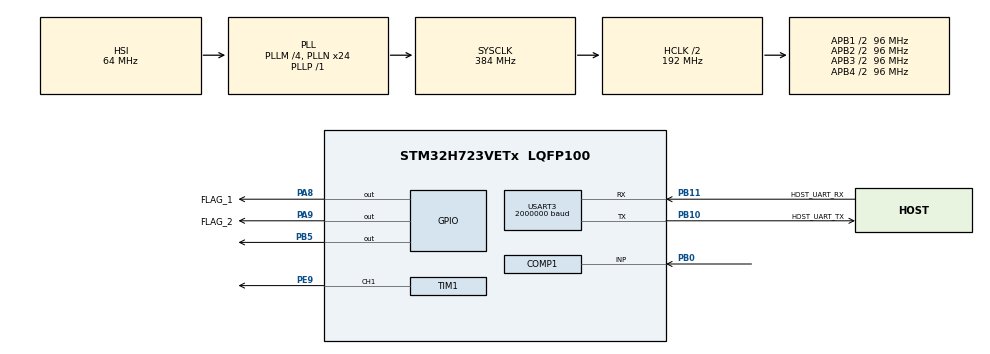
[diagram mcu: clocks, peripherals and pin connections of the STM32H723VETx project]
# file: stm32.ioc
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COMP1.Hysteresis=COMP_HYSTERESIS_LOW
CORTEX_M7.default_mode_Activation=1
DAC1.DAC_Channel-DAC_OUT1_Int=DAC_CHANNEL_1
Dma.Request0=TIM2_CH4
Dma.TIM2_CH4.0.Direction=DMA_PERIPH_TO_MEMORY
Dma.TIM2_CH4.0.EventEnable=DISABLE
Dma.TIM2_CH4.0.FIFOMode=DMA_FIFOMODE_DISABLE
Dma.TIM2_CH4.0.Instance=DMA1_Stream1
Dma.TIM2_CH4.0.MemDataAlignment=DMA_MDATAALIGN_WORD
Dma.TIM2_CH4.0.MemInc=DMA_MINC_ENABLE
Dma.TIM2_CH4.0.Mode=DMA_CIRCULAR
Dma.TIM2_CH4.0.PeriphDataAlignment=DMA_PDATAALIGN_WORD
Dma.TIM2_CH4.0.PeriphInc=DMA_PINC_DISABLE
Dma.TIM2_CH4.0.Polarity=HAL_DMAMUX_REQ_GEN_RISING
Dma.TIM2_CH4.0.Priority=DMA_PRIORITY_VERY_HIGH
Dma.TIM2_CH4.0.RequestNumber=1
Dma.TIM2_CH4.0.SignalID=NONE
Dma.TIM2_CH4.0.SyncEnable=DISABLE
Dma.TIM2_CH4.0.SyncPolarity=HAL_DMAMUX_SYNC_NO_EVENT
Dma.TIM2_CH4.0.SyncRequestNumber=1
Dma.TIM2_CH4.0.SyncSignalID=NONE
Mcu.Family=STM32H7
Mcu.Name=STM32H723VETx
Mcu.Package=LQFP100
NVIC.DMA2_Stream0_IRQn=true\:1\:0\:false\:false\:true\:false\:true\:true
NVIC.DMA1_Stream2_IRQn=true\:4\:0\:false\:false\:true\:false\:true\:true
NVIC.PriorityGroup=NVIC_PRIORITYGROUP_4
NVIC.USART3_IRQn=true\:6\:0\:false\:false\:true\:true\:true\:true
PA13\ (JTMS/SWDIO).GPIO_Label=JTMS
PA13\ (JTMS/SWDIO).Signal=DEBUG_JTMS-SWDIO
PA14\ (JTCK/SWCLK).GPIO_Label=JTCK
PA14\ (JTCK/SWCLK).Signal=DEBUG_JTCK-SWCLK
PB0.Mode=INP
PB0.Signal=COMP1_INP
PB10.GPIO_Label=HOST_UART_TX
PB10.Mode=Asynchronous
PB10.Signal=USART3_TX
PB11.GPIO_Label=HOST_UART_RX
PB11.Mode=Asynchronous
PB11.Signal=USART3_RX
PB5.GPIO_PuPd=GPIO_PULLDOWN
PB5.GPIO_Speed=GPIO_SPEED_FREQ_LOW
PB5.Signal=GPIO_Output
PC14-OSC32_IN\ (OSC32_IN).Signal=RCC_OSC32_IN
PC15-OSC32_OUT\ (OSC32_OUT).Signal=RCC_OSC32_OUT
PE9.GPIO_Speed=GPIO_SPEED_FREQ_LOW
PE9.Signal=S_TIM1_CH1
PH0-OSC_IN\ (PH0).Signal=RCC_OSC_IN
PH1-OSC_OUT\ (PH1).Signal=RCC_OSC_OUT
ProjectManager.HeapSize=0x200
ProjectManager.StackSize=0x400
ProjectManager.TargetToolchain=STM32CubeIDE
RCC.APB1Freq_Value=96000000
RCC.APB2Freq_Value=96000000
RCC.APB3Freq_Value=96000000
RCC.APB4Freq_Value=96000000
RCC.CortexFreq_Value=384000000
RCC.D1PPRE=RCC_APB3_DIV2
RCC.D2PPRE1=RCC_APB1_DIV2
RCC.D2PPRE2=RCC_APB2_DIV2
RCC.D3PPRE=RCC_APB4_DIV2
RCC.DIVM1=4
RCC.DIVN1=24
RCC.DIVP1=1
RCC.DIVQ1=8
RCC.DIVR1=2
RCC.HCLKFreq_Value=192000000
RCC.HPRE=RCC_HCLK_DIV2
RCC.PLL1FRACN=0
RCC.SYSCLKFreq_VALUE=384000000
RCC.SYSCLKSource=RCC_SYSCLKSOURCE_PLLCLK
SH.S_TIM1_CH1.0=TIM1_CH1,PWM Generation1 CH1
TIM2.Channel-Input_Capture4_from_TI4=TIM_CHANNEL_4
TIM2.ICFilter_CH4=5
TIM2.ICPolarity_CH4=TIM_INPUTCHANNELPOLARITY_BOTHEDGE
TIM2.Period=4294967295
TIM2.Prescaler=2
TIM2.TIM_MasterOutputTrigger=TIM_TRGO_RESET
TIM1.Channel-PWM\ Generation1\ CH1=TIM_CHANNEL_1
TIM1.Period=95
USART3.BaudRate=2000000
USART3.VirtualMode-Asynchronous=VM_ASYNC
VP_COMP1_VS_DACOUT1.Mode=INM_DACOUT1
VP_DAC1_VS_DACI1.Mode=DAC_OUT1_Int
VP_MEMORYMAP_VS_MEMORYMAP.Mode=CurAppReg
VP_TIM2_VS_ClockSourceINT.Mode=Internal
VP_TIM1_VS_ClockSourceINT.Mode=Internal
PA8.GPIO_Label=FLAG_1
PA8.Signal=GPIO_Output
PA9.GPIO_Label=FLAG_2
PA9.Signal=GPIO_Output

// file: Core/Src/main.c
/* USER CODE BEGIN Header */
/**
  ******************************************************************************
  * @file           : main.c
  * @brief          : Main program body
  ******************************************************************************
  * @attention
  *
  * Copyright (c) 2026 STMicroelectronics.
  * All rights reserved.
  *
  * This software is licensed under terms that can be found in the LICENSE file
  * in the root directory of this software component.
  * If no LICENSE file comes with this software, it is provided AS-IS.
  *
  ******************************************************************************
  */
/* USER CODE END Header */
#include "main.h"
#include "comp.h"
#include "dac.h"
#include "dma.h"
#include "tim.h"
#include "usart.h"
#include "gpio.h"

/* USER CODE BEGIN Includes */
#include "openvlc_board.h"
#include "openvlc_stm32_hal.h"
#include "openvlc_stm32_tx_hal.h"
#include "openvlc_transceiver_host.h"
#include "stm32h7xx_it.h"
#include <stdio.h>

/* USER CODE END Includes */

/* USER CODE BEGIN PD */
/* See Core/Inc/openvlc_board.h for the bring-up stage table. */
#ifndef OPENVLC_BOOT_STAGE
#define OPENVLC_BOOT_STAGE 0
#endif

/* USER CODE END PD */

/* USER CODE BEGIN PV */
volatile uint32_t openvlc_boot_step = 0xB0070000u;
volatile uint32_t openvlc_main_loop_count;
volatile uint32_t openvlc_main_phase;
volatile uint32_t openvlc_main_last_tick;
static uint32_t openvlc_reset_flags;

/* USER CODE END PV */

void SystemClock_Config(void);
static void MPU_Config(void);

/* USER CODE BEGIN 0 */
static void openvlc_tx_boot_pin_test(void)
{
#if OPENVLC_TX_BOOT_PIN_TEST_MS > 0u
  const uint32_t period = OPENVLC_STM32_TX_TIMER_HZ /
                          OPENVLC_TX_BOOT_PIN_TEST_HZ;

  if (period < 2u)
    Error_Handler();

  /* TIM1_CH1 PWM on PE9, independent of UART RX, framing and DMA. */
  CLEAR_BIT(TIM1->CR1, TIM_CR1_CEN);
  CLEAR_BIT(TIM1->CCER, TIM_CCER_CC1E);
  CLEAR_BIT(TIM1->BDTR, TIM_BDTR_MOE);
  TIM1->PSC = 0u;
  TIM1->ARR = period - 1u;
  TIM1->CCR1 = period / 2u;
  MODIFY_REG(TIM1->CCMR1,
             TIM_CCMR1_CC1S | TIM_CCMR1_OC1M | TIM_CCMR1_OC1PE,
             (6u << TIM_CCMR1_OC1M_Pos) | TIM_CCMR1_OC1PE);
  CLEAR_BIT(TIM1->CCER, TIM_CCER_CC1P);
  TIM1->EGR = TIM_EGR_UG;
  TIM1->SR = 0u;
  SET_BIT(TIM1->CCER, TIM_CCER_CC1E);
  SET_BIT(TIM1->BDTR, TIM_BDTR_MOE);
  SET_BIT(TIM1->CR1, TIM_CR1_CEN);
  HAL_Delay(OPENVLC_TX_BOOT_PIN_TEST_MS);

  /* Restore the operational OpenVLC timer profile. */
  CLEAR_BIT(TIM1->CR1, TIM_CR1_CEN);
  CLEAR_BIT(TIM1->CCER, TIM_CCER_CC1E);
  CLEAR_BIT(TIM1->BDTR, TIM_BDTR_MOE);
  TIM1->PSC = 0u;
  TIM1->ARR = OPENVLC_STM32_TX_CELL_TICKS - 1u;
  TIM1->CCR1 = 0u;
  TIM1->CCR4 = OPENVLC_STM32_TX_CELL_TICKS /
               OPENVLC_TX_OC_DMA_PHASE_DIV;
  TIM1->CNT = 0u;
  TIM1->EGR = TIM_EGR_UG;
  TIM1->SR = 0u;
#endif
}

/* USER CODE END 0 */

int main(void)
{

  /* USER CODE BEGIN 1 */
  openvlc_reset_flags = RCC->RSR;
  RCC->RSR |= RCC_RSR_RMVF;

  /* USER CODE END 1 */

  /* MPU Configuration--------------------------------------------------------*/
  MPU_Config();

  /* USER CODE BEGIN CPU_CACHE_ENABLE */
#if OPENVLC_ENABLE_ICACHE
  /*
   * The edge decoder and Reed-Solomon parser execute from Flash. I-cache is
   * required for sustained reception.
   */
  SCB_InvalidateICache();
  SCB_EnableICache();
#endif
#if OPENVLC_ENABLE_DCACHE
  /*
   * D-cache halves the decode time (the RAM-bound hot path), restoring the
   * processing margin at the full 134 frame/s load. DMA coherency: the TIM2
     * capture ring occupies the first 160 KB of RAM_D1 and the three TIM1 TX
     * streams occupy the following ~94 KB. MPU region 1 therefore marks the
     * complete first 256 KB NON-CACHEABLE. The final 64 KB remains cacheable
     * for CPU-only RX/host buffers. This keeps TIM2 coherent and lets DMA2
     * prefetch TX cells without a per-frame D-cache clean on the shared AXI
     * bus.
   */
  {
    MPU_Region_InitTypeDef ring_region = {0};
    MPU_Region_InitTypeDef dma_region = {0};

    HAL_MPU_Disable();
    ring_region.Enable = MPU_REGION_ENABLE;
    ring_region.Number = MPU_REGION_NUMBER1;
    ring_region.BaseAddress = 0x24000000UL;
    ring_region.Size = MPU_REGION_SIZE_256KB;
    ring_region.SubRegionDisable = 0x00;
    ring_region.TypeExtField = MPU_TEX_LEVEL1;      /* normal memory */
    ring_region.AccessPermission = MPU_REGION_FULL_ACCESS;
    ring_region.DisableExec = MPU_INSTRUCTION_ACCESS_DISABLE;
    ring_region.IsShareable = MPU_ACCESS_NOT_SHAREABLE;
    ring_region.IsCacheable = MPU_ACCESS_NOT_CACHEABLE;
    ring_region.IsBufferable = MPU_ACCESS_NOT_BUFFERABLE;
    HAL_MPU_ConfigRegion(&ring_region);

    /* DMA1-visible D2 SRAM holds the circular USART3 RX buffer. */
    dma_region.Enable = MPU_REGION_ENABLE;
    dma_region.Number = MPU_REGION_NUMBER2;
    dma_region.BaseAddress = 0x30000000UL;
    dma_region.Size = MPU_REGION_SIZE_32KB;
    dma_region.SubRegionDisable = 0x00;
    dma_region.TypeExtField = MPU_TEX_LEVEL1;
    dma_region.AccessPermission = MPU_REGION_FULL_ACCESS;
    dma_region.DisableExec = MPU_INSTRUCTION_ACCESS_DISABLE;
    dma_region.IsShareable = MPU_ACCESS_NOT_SHAREABLE;
    dma_region.IsCacheable = MPU_ACCESS_NOT_CACHEABLE;
    dma_region.IsBufferable = MPU_ACCESS_NOT_BUFFERABLE;
    HAL_MPU_ConfigRegion(&dma_region);
    HAL_MPU_Enable(MPU_PRIVILEGED_DEFAULT);
  }
  SCB_EnableDCache();
#endif
  /* USER CODE END CPU_CACHE_ENABLE */

  /* MCU Configuration--------------------------------------------------------*/

  /* Reset of all peripherals, Initializes the Flash interface and the Systick. */
  HAL_Init();

  /* Configure the system clock */
  SystemClock_Config();

  /* Initialize all configured peripherals */
  MX_GPIO_Init();
  MX_DMA_Init();
  MX_TIM2_Init();
  MX_TIM1_Init();
  MX_USART3_UART_Init();
  MX_COMP1_Init();
  MX_DAC1_Init();
  /* USER CODE BEGIN 2 */
  openvlc_boot_step = 10u;
  openvlc_tx_boot_pin_test();
  {
    const uint8_t boot_msg[] = "BOOT: USART3 OK\r\n";
    openvlc_boot_step = 11u;
    HAL_UART_Transmit(&huart3, (uint8_t *)boot_msg, sizeof(boot_msg) - 1u, 100);
    openvlc_boot_step = 12u;
  }
  {
    uint32_t pclk2 = HAL_RCC_GetPCLK2Freq();
    uint32_t timclk = ((RCC->D2CFGR & RCC_D2CFGR_D2PPRE2) !=
                       RCC_D2CFGR_D2PPRE2_DIV1) ? pclk2 * 2u : pclk2;
    char hw_msg[128];
    int n = snprintf(hw_msg, sizeof(hw_msg),
                     "BOOT: H723 devid=0x%03lx sys=%lu tim=%lu\r\n",
                     (unsigned long)HAL_GetDEVID(),
                     (unsigned long)HAL_RCC_GetSysClockFreq(),
                     (unsigned long)timclk);
    if (n > 0)
      HAL_UART_Transmit(&huart3, (uint8_t *)hw_msg, (uint16_t)n, 100);
    /* Link identity banner: with three boards in the lab, a same-src pair
     * silently self-drops every peer frame (selfdrop==ok). Make the flashed
     * addressing visible at every boot so the mismatch is caught in seconds. */
    n = snprintf(hw_msg, sizeof(hw_msg),
                 "BOOT: node=%u src=%u dst=%u\r\n",
                 (unsigned int)OPENVLC_TRANSCEIVER_NODE,
                 (unsigned int)OPENVLC_TX_SRC_ADDR,
                 (unsigned int)OPENVLC_TX_DST_ADDR);
    if (n > 0)
      HAL_UART_Transmit(&huart3, (uint8_t *)hw_msg, (uint16_t)n, 100);
    if (HAL_GetDEVID() != 0x483u ||
        HAL_RCC_GetSysClockFreq() != 384000000u ||
        timclk != OPENVLC_STM32_TX_TIMER_HZ)
    {
      const uint8_t fail_msg[] = "BOOT: H723 device/clock mismatch\r\n";
      HAL_UART_Transmit(&huart3, (uint8_t *)fail_msg,
                        sizeof(fail_msg) - 1u, 100);
      Error_Handler();
    }
  }
  {
    char reset_msg[48];
    int n = snprintf(reset_msg, sizeof(reset_msg), "BOOT: reset_flags=0x%08lx\r\n",
                     (unsigned long)openvlc_reset_flags);
    if (n > 0)
    {
      HAL_UART_Transmit(&huart3, (uint8_t *)reset_msg, (uint16_t)n, 100);
    }
  }
#if OPENVLC_BOOT_STAGE >= 1
  openvlc_stm32_init();
#endif
#if OPENVLC_BOOT_STAGE >= 2
  if (openvlc_stm32_memory_selftest() != 0)
  {
    const uint8_t mem_fail_msg[] = "BOOT: RAM selftest failed\r\n";
    HAL_UART_Transmit(&huart3, (uint8_t *)mem_fail_msg, sizeof(mem_fail_msg) - 1u, 100);
    Error_Handler();
  }
  {
    const uint8_t mem_ok_msg[] = "BOOT: RAM selftest OK\r\n";
    HAL_UART_Transmit(&huart3, (uint8_t *)mem_ok_msg, sizeof(mem_ok_msg) - 1u, 100);
  }
  {
    const uint8_t start_msg[] = "BOOT: starting COMP1/DAC1/TIM2-IC\r\n";
    HAL_UART_Transmit(&huart3, (uint8_t *)start_msg, sizeof(start_msg) - 1u, 100);
  }
  if (openvlc_stm32_start() != 0)
  {
    const uint8_t fail_msg[] = "BOOT: openvlc_stm32_start failed\r\n";
    HAL_UART_Transmit(&huart3, (uint8_t *)fail_msg, sizeof(fail_msg) - 1u, 100);
    Error_Handler();
  }
  if (openvlc_transceiver_host_init() != 0)
  {
    const uint8_t fail_msg[] = "BOOT: TX/UART RX init failed\r\n";
    HAL_UART_Transmit(&huart3, (uint8_t *)fail_msg, sizeof(fail_msg) - 1u, 100);
    Error_Handler();
  }
  {
    const uint8_t ok_msg[] = "BOOT: COMP1/DAC1/TIM2-IC started\r\n";
    HAL_UART_Transmit(&huart3, (uint8_t *)ok_msg, sizeof(ok_msg) - 1u, 100);
  }
#endif

  /* USER CODE END 2 */

  /* Infinite loop */
  while (1)
  {

    /* USER CODE BEGIN 3 */
    static uint32_t last_alive_ms = 0;

#if OPENVLC_RX_DEEP_DEBUG_LOG
    openvlc_main_phase = 1u;
    openvlc_main_loop_count++;
    openvlc_main_last_tick = HAL_GetTick();
#endif
#if OPENVLC_BOOT_STAGE >= 3
#if OPENVLC_RX_DEEP_DEBUG_LOG
    openvlc_main_phase = 2u;
#endif
    openvlc_stm32_rx_comparator_poll();
#endif
#if OPENVLC_RX_DEEP_DEBUG_LOG
    openvlc_main_phase = 3u;
#endif
    openvlc_transceiver_host_poll();
    /* Release the TX idle keep-alive when the host stops sending. */
    openvlc_stm32_tx_idle_poll();
#if OPENVLC_TX_HW_DIAG
    openvlc_stm32_tx_diag_poll();
#endif
#if OPENVLC_BOOT_STAGE >= 2
#if OPENVLC_RX_DEEP_DEBUG_LOG
    openvlc_main_phase = 4u;
#endif
#if OPENVLC_RX_DIAG_LOG || OPENVLC_COMP_THRESHOLD_AUTO || \
    OPENVLC_COMP_DUTY_SERVO
    openvlc_stm32_debug_poll(HAL_GetTick());
#endif
#if OPENVLC_TX_DIAG_LOG
    openvlc_transceiver_host_log(HAL_GetTick());
#endif
#endif
#if OPENVLC_RX_DEEP_DEBUG_LOG
    openvlc_main_phase = 5u;
#endif
#if OPENVLC_RX_HOST_FORWARD
    openvlc_stm32_host_poll();
#endif
    if (HAL_GetTick() - last_alive_ms >= 1000u)
    {
      HAL_GPIO_TogglePin(OPENVLC_HEARTBEAT_GPIO_PORT,
                        OPENVLC_HEARTBEAT_GPIO_PIN);
#if OPENVLC_ALIVE_LOG
#if OPENVLC_RX_HOST_FORWARD
      last_alive_ms = HAL_GetTick();
      openvlc_platform_log("ALIVE\r\n");
#else
      const uint8_t alive_msg[] = "ALIVE\r\n";
      last_alive_ms = HAL_GetTick();
      HAL_UART_Transmit(&huart3, (uint8_t *)alive_msg, sizeof(alive_msg) - 1u, 10);
#endif
#else
      last_alive_ms = HAL_GetTick();
#endif
    }
#if OPENVLC_RX_DEEP_DEBUG_LOG
    openvlc_main_phase = 6u;
#endif
  }
  /* USER CODE END 3 */
}

void SystemClock_Config(void)
{
  RCC_OscInitTypeDef RCC_OscInitStruct = {0};
  RCC_ClkInitTypeDef RCC_ClkInitStruct = {0};

  /** Supply configuration update enable
  */
  HAL_PWREx_ConfigSupply(PWR_LDO_SUPPLY);

  /** Configure the main internal regulator output voltage
  */
  /*
   * VOS1 supports up to 400 MHz CPU; we run 384 MHz so no SYSCFG overdrive
   * (VOS0) is needed. SCALE3 only allowed up to 200 MHz.
   */
  __HAL_PWR_VOLTAGESCALING_CONFIG(PWR_REGULATOR_VOLTAGE_SCALE1);

  while(!__HAL_PWR_GET_FLAG(PWR_FLAG_VOSRDY)) {}

  __HAL_RCC_PLL_PLLSOURCE_CONFIG(RCC_PLLSOURCE_HSI);

  /*
   * HSI 64 MHz -> PLL1 -> SYSCLK 384 MHz.
   *   ref = 64 / PLLM(4)   = 16 MHz
   *   VCO = ref * PLLN(24) = 384 MHz (wide VCO range)
   *   SYSCLK = VCO / PLLP(1) = 384 MHz
   * 384 was chosen so the APB timer clock becomes 192 MHz, an exact multiple
   * of both 16 MHz (budget-100) and 64 MHz (budget-50) TIM2 capture ticks.
   */
  RCC_OscInitStruct.OscillatorType = RCC_OSCILLATORTYPE_HSI;
  RCC_OscInitStruct.HSIState = RCC_HSI_DIV1;            /* HSI = 64 MHz */
  RCC_OscInitStruct.HSICalibrationValue = RCC_HSICALIBRATION_DEFAULT;
  RCC_OscInitStruct.PLL.PLLState = RCC_PLL_ON;
  RCC_OscInitStruct.PLL.PLLSource = RCC_PLLSOURCE_HSI;
  RCC_OscInitStruct.PLL.PLLM = 4;
  RCC_OscInitStruct.PLL.PLLN = 24;
  RCC_OscInitStruct.PLL.PLLP = 1;
  RCC_OscInitStruct.PLL.PLLQ = 8;
  RCC_OscInitStruct.PLL.PLLR = 2;
  RCC_OscInitStruct.PLL.PLLRGE = RCC_PLL1VCIRANGE_3;    /* 8-16 MHz input */
  RCC_OscInitStruct.PLL.PLLVCOSEL = RCC_PLL1VCOWIDE;    /* 192-836 MHz VCO */
  RCC_OscInitStruct.PLL.PLLFRACN = 0;
  if (HAL_RCC_OscConfig(&RCC_OscInitStruct) != HAL_OK)
  {
    Error_Handler();
  }

  /*
   * CPU 384 MHz, HCLK (AXI/AHB) 192 MHz, all APB = 96 MHz so every APB timer
   * kernel clock is 192 MHz. Flash needs 2 wait states at 192 MHz / VOS1.
   */
  RCC_ClkInitStruct.ClockType = RCC_CLOCKTYPE_HCLK|RCC_CLOCKTYPE_SYSCLK
                              |RCC_CLOCKTYPE_PCLK1|RCC_CLOCKTYPE_PCLK2
                              |RCC_CLOCKTYPE_D3PCLK1|RCC_CLOCKTYPE_D1PCLK1;
  RCC_ClkInitStruct.SYSCLKSource = RCC_SYSCLKSOURCE_PLLCLK;
  RCC_ClkInitStruct.SYSCLKDivider = RCC_SYSCLK_DIV1;    /* CPU = 384 MHz */
  RCC_ClkInitStruct.AHBCLKDivider = RCC_HCLK_DIV2;      /* HCLK = 192 MHz */
  RCC_ClkInitStruct.APB3CLKDivider = RCC_APB3_DIV2;     /* 96 MHz */
  RCC_ClkInitStruct.APB1CLKDivider = RCC_APB1_DIV2;     /* 96 MHz, TIM = 192 */
  RCC_ClkInitStruct.APB2CLKDivider = RCC_APB2_DIV2;     /* 96 MHz, TIM = 192 */
  RCC_ClkInitStruct.APB4CLKDivider = RCC_APB4_DIV2;     /* 96 MHz */

  if (HAL_RCC_ClockConfig(&RCC_ClkInitStruct, FLASH_LATENCY_2) != HAL_OK)
  {
    Error_Handler();
  }
}

 /* MPU Configuration */

void MPU_Config(void)
{
  MPU_Region_InitTypeDef MPU_InitStruct = {0};

  /* Disables the MPU */
  HAL_MPU_Disable();

  /** Initializes and configures the Region and the memory to be protected
  */
  MPU_InitStruct.Enable = MPU_REGION_ENABLE;
  MPU_InitStruct.Number = MPU_REGION_NUMBER0;
  MPU_InitStruct.BaseAddress = 0x0;
  MPU_InitStruct.Size = MPU_REGION_SIZE_4GB;
  MPU_InitStruct.SubRegionDisable = 0x87;
  MPU_InitStruct.TypeExtField = MPU_TEX_LEVEL0;
  MPU_InitStruct.AccessPermission = MPU_REGION_NO_ACCESS;
  MPU_InitStruct.DisableExec = MPU_INSTRUCTION_ACCESS_DISABLE;
  MPU_InitStruct.IsShareable = MPU_ACCESS_SHAREABLE;
  MPU_InitStruct.IsCacheable = MPU_ACCESS_NOT_CACHEABLE;
  MPU_InitStruct.IsBufferable = MPU_ACCESS_NOT_BUFFERABLE;

  HAL_MPU_ConfigRegion(&MPU_InitStruct);
  /* Enables the MPU */
  HAL_MPU_Enable(MPU_PRIVILEGED_DEFAULT);

}

void Error_Handler(void)
{
  /* USER CODE BEGIN Error_Handler_Debug */
  openvlc_fault_capture(
      6u, NULL, (uint32_t)(uintptr_t)__builtin_return_address(0));
  /* USER CODE END Error_Handler_Debug */
}
